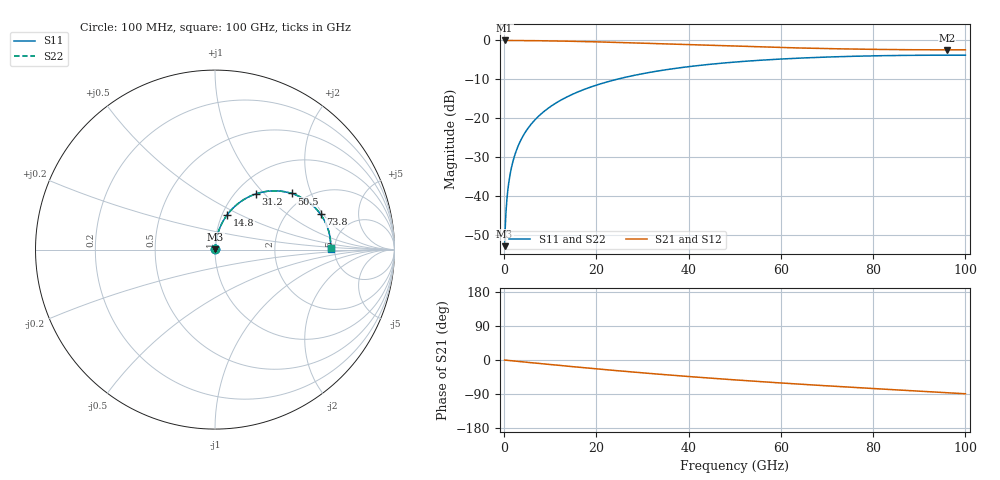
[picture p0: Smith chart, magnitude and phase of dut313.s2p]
! Touchstone file exported from HFSS 2026.1.0
!  File:  C:/ffzhzh/LocalFiles/Ansys_Project_Files/temp_train_RDL_313_1783502558_44152.aedt
!  Generated:  05:24:05 PM Jul  8, 2026
!  Design:  RDL
!  Project:  temp_train_RDL_313_1783502558_44152
! Variables:
!  h_bsmrdl = 2um
!  h_ox = 20um
!  h_rdl = 5um
!  h_sub = 80um
!  h_tmrdl = 3.55um
!  h_tsv = 80um
!  h_via = 3um
!  l_bsmrdl = 300um
!  l_sub = 674.62um
!  l_tmrdl = 274.62um
!  m_sub = 200um
!  pitch = 54.6um
!  r_tsv = 6um
!  s_tmrdl = 10um
!  w_bsmrdl = 18um
!  w_sub = 500um
!  w_tmrdl = 18.7um
!  x_tsv_center1 = 283.97um
!  x_tsv_center2 = 601.97um
!  x_tsv_center3 = 895.29um
!  x_tsv_center4 = 1213.29um
!  x_tsv_center5 = 1506.61um
!  x_tsv_center6 = 1824.61um
# GHz S MA R 50.000000
! Terminal data exported
! Port[1] = TM_RDL1_1_T1
! Port[2] = TM_RDL1_1_T2
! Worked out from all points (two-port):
!   1000 points, 100 MHz to 100 GHz, reference 50 ohm
!   highest |S21| = -0.01 dB at 100 MHz (marker M1); lowest = -2.4 dB at 96 GHz (marker M2)
!   |S21| within 3 dB of the highest: start of sweep to end of sweep
!   lowest |S11| = -53.0 dB at 100 MHz (marker M3), VSWR 1.00, Z = 50.2 + j0.153 ohm
!   |S11| at or under -10 dB: start of sweep to 24.5 GHz
!   |S22| runs from -53.0 to -3.8 dB; largest |S21 - S12| = 4.2e-15
!   S11 on the Smith chart (normalised r, x): 100 MHz: 1.00, +0.00; 14.8 GHz: 1.06, +0.42; 31.2 GHz: 1.23, +0.89; 50.5 GHz: 1.69, +1.47; 73.8 GHz: 2.96, +1.89; 100 GHz: 4.62, +0.08
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0.1  0.002244 42.9  0.9984 -0.1  0.9984 -0.1  0.002244 42.9
! Gamma 0 0 0 0
! Port Impedance 50 0 50 0
0.4  0.006233 72.6  0.9982 -0.5  0.9982 -0.5  0.006233 72.6
0.8  0.01186 79.6  0.998 -1.0  0.998 -1.0  0.01186 79.6
1.3  0.01898 82.3  0.9978 -1.6  0.9978 -1.6  0.01898 82.3
1.8  0.02613 83.1  0.9975 -2.2  0.9975 -2.2  0.02613 83.1
2.3  0.03328 83.4  0.9972 -2.8  0.9972 -2.8  0.03328 83.4
3.6  0.05179 82.8  0.9961 -4.4  0.9961 -4.4  0.05179 82.8
5.5  0.07852 81.1  0.9938 -6.7  0.9938 -6.7  0.07852 81.1
7.9  0.1116 78.5  0.99 -9.5  0.99 -9.5  0.1116 78.5
11  0.1532 75.1  0.9836 -13.2  0.9836 -13.2  0.1532 75.1
14.8  0.2022 70.9  0.9739 -17.5  0.9739 -17.5  0.2022 70.9
16.8  0.2271 68.8  0.9681 -19.8  0.9681 -19.8  0.2271 68.8
23.3  0.3031 61.8  0.9464 -26.9  0.9464 -26.9  0.3031 61.9
31.2  0.3841 53.8  0.916 -35.1  0.916 -35.1  0.3841 53.8
33.4  0.4044 51.6  0.9072 -37.3  0.9072 -37.3  0.4044 51.7
50.1  0.5266 36.6  0.8423 -52.5  0.8423 -52.5  0.5266 36.7
50.5  0.5289 36.3  0.8409 -52.9  0.8409 -52.9  0.5289 36.3
66.7  0.6004 23.6  0.792 -65.7  0.792 -65.7  0.6004 23.7
73.8  0.6202 18.4  0.7768 -70.9  0.7768 -70.9  0.6202 18.6
83.4  0.6376 11.7  0.7628 -77.7  0.7628 -77.7  0.6376 11.9
96  0.6454 3.2  0.7561 -86.4  0.7561 -86.4  0.6454 3.3
100  0.6444 0.5  0.7567 -89.1  0.7567 -89.1  0.6444 0.6
